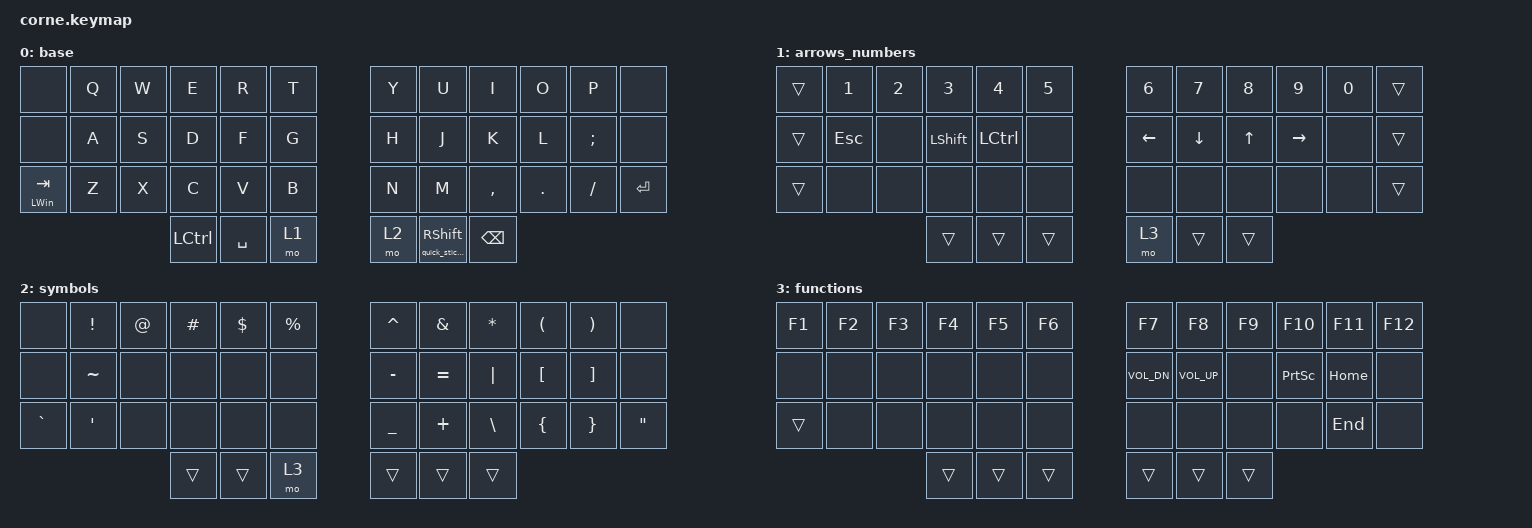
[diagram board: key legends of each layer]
/*
 * Copyright (c) 2020 The ZMK Contributors
 *
 * SPDX-License-Identifier: MIT
 */

#include <behaviors.dtsi>
#include <dt-bindings/zmk/bt.h>
#include <dt-bindings/zmk/keys.h>

/ {
    behaviors {
        quick_sticky: quick_sticky {
            compatible = "zmk,behavior-sticky-key";
            label = "QUICK_STICKY";
            bindings = <&kp>;
            #binding-cells = <1>;
            release-after-ms = <800>;
            quick-release;
        };
    };

    combos {
        compatible = "zmk,combos";

        BT_CLEAR_ALL {
            bindings = <&bt BT_CLR_ALL>;
            key-positions = <24 35>;
            layers = <3>;
        };
    };

    keymap {
        compatible = "zmk,keymap";

        base {
            // -----------------------------------------------------------------------------------------
            // |  TAB |  Q  |  W  |  E  |  R  |  T  |   |  Y  |  U   |  I  |  O  |  P  | BKSP |
            // | CTRL |  A  |  S  |  D  |  F  |  G  |   |  H  |  J   |  K  |  L  |  ;  |  '   |
            // | SHFT |  Z  |  X  |  C  |  V  |  B  |   |  N  |  M   |  ,  |  .  |  /  | ESC  |
            //                    | GUI | LWR | SPC |   | ENT | RSE  | ALT |

            bindings = <
&none             &kp Q  &kp W  &kp E             &kp R      &kp T    &kp Y  &kp U                      &kp I          &kp O    &kp P     &none
&none             &kp A  &kp S  &kp D             &kp F      &kp G    &kp H  &kp J                      &kp K          &kp L    &kp SEMI  &none
&mt LEFT_WIN TAB  &kp Z  &kp X  &kp C             &kp V      &kp B    &kp N  &kp M                      &kp COMMA      &kp DOT  &kp FSLH  &kp ENTER
                                &kp LEFT_CONTROL  &kp SPACE  &mo 1    &mo 2  &quick_sticky RIGHT_SHIFT  &kp BACKSPACE
            >;
        };

        arrows_numbers {
            // -----------------------------------------------------------------------------------------
            // |  TAB |  1  |  2  |  3  |  4  |  5  |   |  6  |  7  |  8  |  9  |  0  | BKSP |
            // | BTCLR| BT1 | BT2 | BT3 | BT4 | BT5 |   | LFT | DWN |  UP | RGT |     |      |
            // | SHFT |     |     |     |     |     |   |     |     |     |     |     |      |
            //                    | GUI |     | SPC |   | ENT |     | ALT |

            bindings = <
&trans  &kp N1      &kp N2  &kp N3          &kp N4            &kp N5    &kp N6    &kp N7    &kp N8  &kp N9     &kp N0  &trans
&trans  &kp ESCAPE  &none   &kp LEFT_SHIFT  &kp LEFT_CONTROL  &none     &kp LEFT  &kp DOWN  &kp UP  &kp RIGHT  &none   &trans
&trans  &none       &none   &none           &none             &none     &none     &none     &none   &none      &none   &trans
                            &trans          &trans            &trans    &mo 3     &trans    &trans
            >;
        };

        symbols {
            // -----------------------------------------------------------------------------------------
            // |  TAB |  !  |  @  |  #  |  $  |  %  |   |  ^  |  &  |  *  |  (  |  )  | BKSP |
            // | CTRL |     |     |     |     |     |   |  -  |  =  |  [  |  ]  |  \  |  `   |
            // | SHFT |     |     |     |     |     |   |  _  |  +  |  {  |  }  | "|" |  ~   |
            //                    | GUI |     | SPC |   | ENT |     | ALT |

            bindings = <
&none      &kp EXCL          &kp AT  &kp HASH  &kp DLLR  &kp PRCNT    &kp CARET  &kp AMPS   &kp ASTRK      &kp LPAR          &kp RPAR           &none
&none      &kp TILDE         &none   &none     &none     &none        &kp MINUS  &kp EQUAL  &kp PIPE       &kp LEFT_BRACKET  &kp RIGHT_BRACKET  &none
&kp GRAVE  &kp SINGLE_QUOTE  &none   &none     &none     &none        &kp UNDER  &kp PLUS   &kp BACKSLASH  &kp LEFT_BRACE    &kp RIGHT_BRACE    &kp DOUBLE_QUOTES
                                     &trans    &trans    &mo 3        &trans     &trans     &trans
            >;
        };

        functions {
            bindings = <
&kp F1  &kp F2  &kp F3  &kp F4  &kp F5  &kp F6    &kp F7        &kp F8           &kp F9  &kp F10          &kp F11   &kp F12
&none   &none   &none   &none   &none   &none     &kp C_VOL_DN  &kp C_VOLUME_UP  &none   &kp PRINTSCREEN  &kp HOME  &none
&trans  &none   &none   &none   &none   &none     &none         &none            &none   &none            &kp END   &none
                        &trans  &trans  &trans    &trans        &trans           &trans
            >;
        };
    };
};
